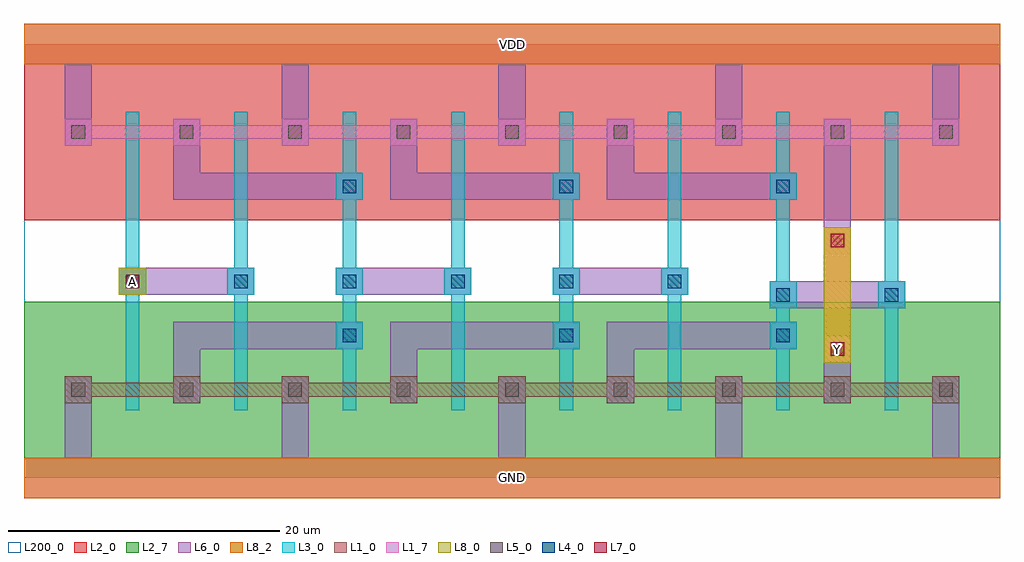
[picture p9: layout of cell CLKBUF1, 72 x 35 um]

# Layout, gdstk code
import gdstk
lib = gdstk.Library(unit=1e-6, precision=1e-09)
def R(c, l, rs):  # rectangles x0, y0, x1, y1
    for r in rs: c.add(gdstk.rectangle(r[:2], r[2:], *l))
def A(c, l, x, y, w, h, nx, ny, dx, dy):  # array of equal rectangles
    R(c, l, [(x+i*dx, y+j*dy, x+i*dx+w, y+j*dy+h) for i in range(nx) for j in range(ny)])
def P(c, l, *ps):  # polygons
    for p in ps: c.add(gdstk.Polygon(p, *l))
L1_0 = (1, 0)
L1_7 = (1, 7)
L2_0 = (2, 0)
L2_7 = (2, 7)
L3_0 = (3, 0)
L4_0 = (4, 0)
L5_0 = (5, 0)
L6_0 = (6, 0)
L7_0 = (7, 0)
L8_0 = (8, 0)
L8_2 = (8, 2)
L200_0 = (200, 0)

clkbuf1 = lib.new_cell('CLKBUF1')
P(clkbuf1, L1_0, [(3,5.5),(3,7.5),(5,7.5),(5,7),(11,7),(11,7.5),(13,7.5),(13,7),(19,7),(19,7.5),(21,7.5),(21,7),(27,7),(27,7.5),(29,7.5),(29,7),(35,7),(35,7.5),(37,7.5),(37,7),(43,7),(43,7.5),(45,7.5),(45,7),(51,7),(51,7.5),(53,7.5),(53,7),(59,7),(59,7.5),(61,7.5),(61,7),(67,7),(67,7.5),(69,7.5),(69,5.5),(67,5.5),(67,6),(61,6),(61,5.5),(59,5.5),(59,6),(53,6),(53,5.5),(51,5.5),(51,6),(45,6),(45,5.5),(43,5.5),(43,6),(37,6),(37,5.5),(35,5.5),(35,6),(29,6),(29,5.5),(27,5.5),(27,6),(21,6),(21,5.5),(19,5.5),(19,6),(13,6),(13,5.5),(11,5.5),(11,6),(5,6),(5,5.5)])
P(clkbuf1, L1_7, [(3,24.5),(3,26.5),(5,26.5),(5,26),(11,26),(11,26.5),(13,26.5),(13,26),(19,26),(19,26.5),(21,26.5),(21,26),(27,26),(27,26.5),(29,26.5),(29,26),(35,26),(35,26.5),(37,26.5),(37,26),(43,26),(43,26.5),(45,26.5),(45,26),(51,26),(51,26.5),(53,26.5),(53,26),(59,26),(59,26.5),(61,26.5),(61,26),(67,26),(67,26.5),(69,26.5),(69,24.5),(67,24.5),(67,25),(61,25),(61,24.5),(59,24.5),(59,25),(53,25),(53,24.5),(51,24.5),(51,25),(45,25),(45,24.5),(43,24.5),(43,25),(37,25),(37,24.5),(35,24.5),(35,25),(29,25),(29,24.5),(27,24.5),(27,25),(21,25),(21,24.5),(19,24.5),(19,25),(13,25),(13,24.5),(11,24.5),(11,25),(5,25),(5,24.5)])
R(clkbuf1, L2_0, [(0,19,72,32)])
R(clkbuf1, L2_7, [(0,0,72,13)])
P(clkbuf1, L3_0, [(7.5,5),(7.5,13.5),(7,13.5),(7,15.5),(7.5,15.5),(7.5,27),(8.5,27),(8.5,15.5),(9,15.5),(9,13.5),(8.5,13.5),(8.5,5)],
  [(15.5,5),(15.5,13.5),(15,13.5),(15,15.5),(15.5,15.5),(15.5,27),(16.5,27),(16.5,15.5),(17,15.5),(17,13.5),(16.5,13.5),(16.5,5)],
  [(23.5,5),(23.5,9.5),(23,9.5),(23,11.5),(23.5,11.5),(23.5,13.5),(23,13.5),(23,15.5),(23.5,15.5),(23.5,20.5),(23,20.5),(23,22.5),(23.5,22.5),(23.5,27),(24.5,27),(24.5,22.5),(25,22.5),(25,20.5),(24.5,20.5),(24.5,15.5),(25,15.5),(25,13.5),(24.5,13.5),(24.5,11.5),(25,11.5),(25,9.5),(24.5,9.5),(24.5,5)],
  [(31.5,5),(31.5,13.5),(31,13.5),(31,15.5),(31.5,15.5),(31.5,27),(32.5,27),(32.5,15.5),(33,15.5),(33,13.5),(32.5,13.5),(32.5,5)],
  [(39.5,5),(39.5,9.5),(39,9.5),(39,11.5),(39.5,11.5),(39.5,13.5),(39,13.5),(39,15.5),(39.5,15.5),(39.5,20.5),(39,20.5),(39,22.5),(39.5,22.5),(39.5,27),(40.5,27),(40.5,22.5),(41,22.5),(41,20.5),(40.5,20.5),(40.5,15.5),(41,15.5),(41,13.5),(40.5,13.5),(40.5,11.5),(41,11.5),(41,9.5),(40.5,9.5),(40.5,5)],
  [(47.5,5),(47.5,13.5),(47,13.5),(47,15.5),(47.5,15.5),(47.5,27),(48.5,27),(48.5,15.5),(49,15.5),(49,13.5),(48.5,13.5),(48.5,5)],
  [(55.5,5),(55.5,9.5),(55,9.5),(55,11.5),(55.5,11.5),(55.5,12.5),(55,12.5),(55,14.5),(55.5,14.5),(55.5,20.5),(55,20.5),(55,22.5),(55.5,22.5),(55.5,27),(56.5,27),(56.5,22.5),(57,22.5),(57,20.5),(56.5,20.5),(56.5,14.5),(57,14.5),(57,12.5),(56.5,12.5),(56.5,11.5),(57,11.5),(57,9.5),(56.5,9.5),(56.5,5)],
  [(63.5,5),(63.5,12.5),(63,12.5),(63,14.5),(63.5,14.5),(63.5,27),(64.5,27),(64.5,14.5),(65,14.5),(65,12.5),(64.5,12.5),(64.5,5)])
A(clkbuf1, L4_0, 23.5, 10, 1, 1, 3, 2, 16, 11)
A(clkbuf1, L4_0, 7.5, 14, 1, 1, 6, 1, 8, 0)
R(clkbuf1, L4_0, [(55.5,13,56.5,14), (63.5,13,64.5,14)])
A(clkbuf1, L5_0, 3.5, 6, 1, 1, 9, 2, 8, 19)
A(clkbuf1, L6_0, 7, 13.5, 10, 2, 3, 1, 16, 0)
R(clkbuf1, L6_0, [(59,5.5,61,10.5), (55,12.5,65,14.5), (59,16.5,61,26.5)])
P(clkbuf1, L6_0, [(0,-1.5),(0,1.5),(3,1.5),(3,7.5),(5,7.5),(5,1.5),(19,1.5),(19,7.5),(21,7.5),(21,1.5),(35,1.5),(35,7.5),(37,7.5),(37,1.5),(51,1.5),(51,7.5),(53,7.5),(53,1.5),(67,1.5),(67,7.5),(69,7.5),(69,1.5),(72,1.5),(72,-1.5)],
  [(11,5.5),(11,11.5),(25,11.5),(25,9.5),(13,9.5),(13,5.5)],
  [(27,5.5),(27,11.5),(41,11.5),(41,9.5),(29,9.5),(29,5.5)],
  [(43,5.5),(43,11.5),(57,11.5),(57,9.5),(45,9.5),(45,5.5)],
  [(11,20.5),(11,26.5),(13,26.5),(13,22.5),(25,22.5),(25,20.5)],
  [(27,20.5),(27,26.5),(29,26.5),(29,22.5),(41,22.5),(41,20.5)],
  [(43,20.5),(43,26.5),(45,26.5),(45,22.5),(57,22.5),(57,20.5)],
  [(3,24.5),(3,30.5),(0,30.5),(0,33.5),(72,33.5),(72,30.5),(69,30.5),(69,24.5),(67,24.5),(67,30.5),(53,30.5),(53,24.5),(51,24.5),(51,30.5),(37,30.5),(37,24.5),(35,24.5),(35,30.5),(21,30.5),(21,24.5),(19,24.5),(19,30.5),(5,30.5),(5,24.5)])
R(clkbuf1, L7_0, [(59.5,9,60.5,10), (7.5,14,8.5,15), (59.5,17,60.5,18)])
R(clkbuf1, L8_0, [(59,8.5,61,18.5), (7,13.5,9,15.5)])
R(clkbuf1, L8_2, [(59,8.5,61,18.5), (7,13.5,9,15.5)])
R(clkbuf1, L200_0, [(0,0,72,32)])
clkbuf1.add(gdstk.FlexPath([(0,32),(72,32)], 3, ends="flush", simple_path=True, layer=8, datatype=2))  # L8_2
clkbuf1.add(gdstk.FlexPath([(0,0),(72,0)], 3, ends="flush", simple_path=True, layer=8, datatype=2))  # L8_2
clkbuf1.add(gdstk.Label('GND', (36,0), layer=6, texttype=1))
clkbuf1.add(gdstk.Label('VDD', (36,32), layer=6, texttype=1))
clkbuf1.add(gdstk.Label('A', (8,14.5), layer=8, texttype=1))
clkbuf1.add(gdstk.Label('Y', (60,9.5), layer=8, texttype=1))

lib.write_gds('CLKBUF1.gds')
